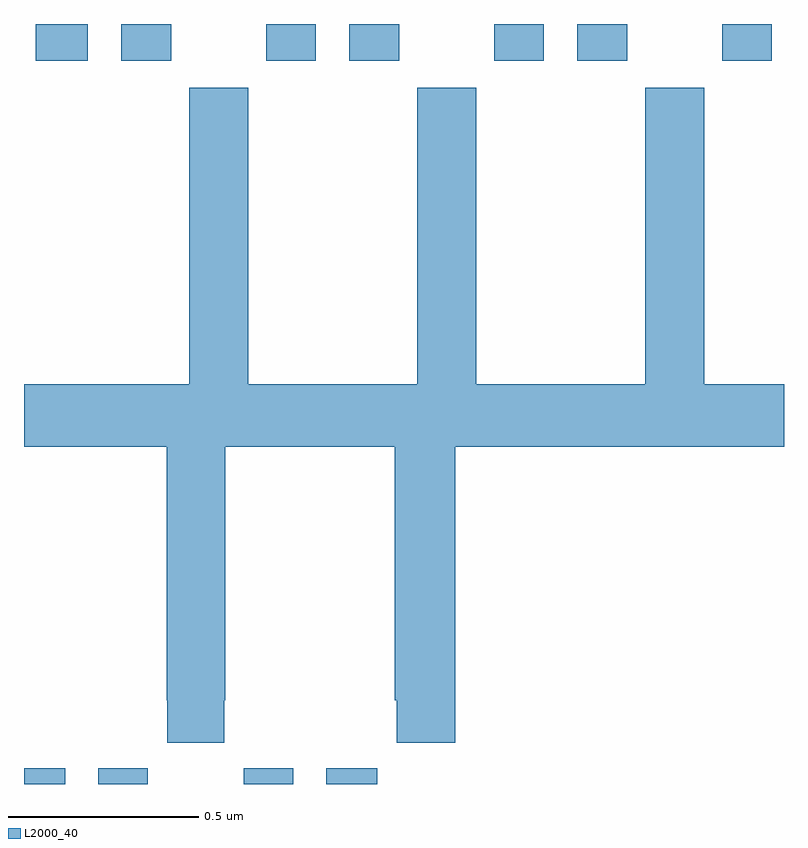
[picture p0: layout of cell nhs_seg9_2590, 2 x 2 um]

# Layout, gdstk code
import gdstk
lib = gdstk.Library(unit=1e-6, precision=1e-09)
def R(c, l, rs):  # rectangles x0, y0, x1, y1
    for r in rs: c.add(gdstk.rectangle(r[:2], r[2:], *l))
def P(c, l, *ps):  # polygons
    for p in ps: c.add(gdstk.Polygon(p, *l))
L2000_40 = (2000, 40)

nhs_seg9_2590 = lib.new_cell('nhs_seg9_2590')
R(nhs_seg9_2590, L2000_40, [(142,1227.5,142.108,1227.541), (142.196,1227.5,142.326,1227.541), (142.578,1227.5,142.708,1227.541), (142.796,1227.5,142.93,1227.541), (142.031,1229.403,142.168,1229.5), (142.256,1229.403,142.387,1229.5), (142.637,1229.403,142.768,1229.5), (142.856,1229.403,142.987,1229.5), (143.237,1229.403,143.368,1229.5), (143.456,1229.403,143.587,1229.5), (143.837,1229.403,143.968,1229.5)])
P(nhs_seg9_2590, L2000_40, [(142.527,1227.721),(142.53,1227.721),(142.53,1228.388),(142.975,1228.388),(142.975,1227.721),(142.981,1227.721),(142.981,1227.609),(143.135,1227.609),(143.135,1228.388),(144,1228.388),(144,1228.552),(143.79,1228.552),(143.79,1229.332),(143.635,1229.332),(143.635,1228.552),(143.19,1228.552),(143.19,1229.332),(143.035,1229.332),(143.035,1228.552),(142.59,1228.552),(142.59,1229.332),(142.435,1229.332),(142.435,1228.552),(142,1228.552),(142,1228.388),(142.375,1228.388),(142.375,1227.721),(142.377,1227.721),(142.377,1227.609),(142.527,1227.609)])

lib.write_gds('nhs_seg9_2590.gds')
